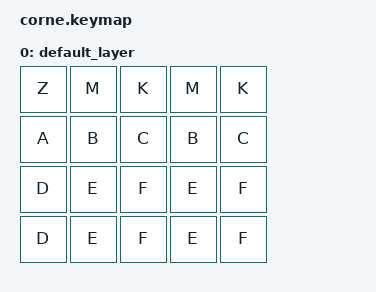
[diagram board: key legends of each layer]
#include <behaviors.dtsi>
#include <dt-bindings/zmk/keys.h>

/ {
    keymap {
        compatible = "zmk,keymap";

        default_layer { // Layer 0
            bindings = <
                &kp Z    &kp M    &kp K    &kp M    &kp K
                &kp A    &kp B    &kp C    &kp B    &kp C
                &kp D    &kp E    &kp F    &kp E    &kp F
                &kp D    &kp E    &kp F    &kp E    &kp F
            >;
        };
    };
 };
